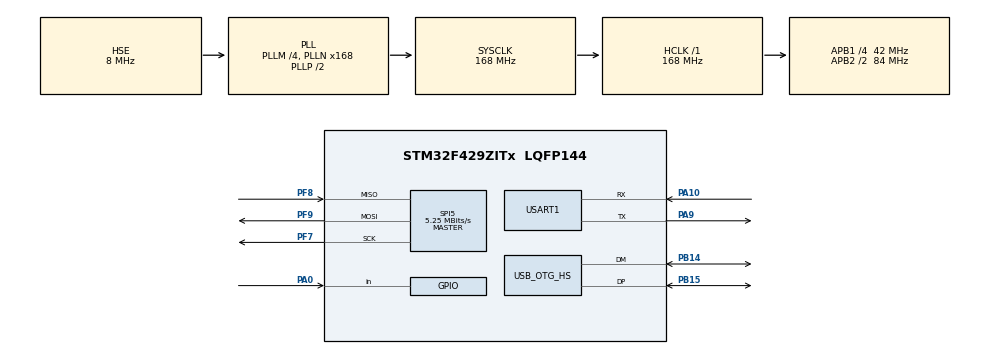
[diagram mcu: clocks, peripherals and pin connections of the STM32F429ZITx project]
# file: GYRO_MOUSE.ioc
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Mcu.Family=STM32F4
Mcu.Name=STM32F429ZITx
Mcu.Package=LQFP144
NVIC.OTG_HS_IRQn=true\:0\:0\:false\:false\:true\:false\:true\:true
NVIC.PriorityGroup=NVIC_PRIORITYGROUP_4
PA0/WKUP.GPIO_PuPd=GPIO_PULLDOWN
PA0/WKUP.Signal=GPIO_Input
PA10.Mode=Asynchronous
PA10.Signal=USART1_RX
PA9.Mode=Asynchronous
PA9.Signal=USART1_TX
PB14.Mode=Device_Only_FS
PB14.Signal=USB_OTG_HS_DM
PB15.Mode=Device_Only_FS
PB15.Signal=USB_OTG_HS_DP
PF7.Mode=Full_Duplex_Master
PF7.Signal=SPI5_SCK
PF8.Mode=Full_Duplex_Master
PF8.Signal=SPI5_MISO
PF9.Mode=Full_Duplex_Master
PF9.Signal=SPI5_MOSI
PH0/OSC_IN.Mode=HSE-External-Oscillator
PH0/OSC_IN.Signal=RCC_OSC_IN
PH1/OSC_OUT.Mode=HSE-External-Oscillator
PH1/OSC_OUT.Signal=RCC_OSC_OUT
ProjectManager.HeapSize=0x200
ProjectManager.StackSize=0x400
ProjectManager.TargetToolchain=STM32CubeIDE
RCC.48MHZClocksFreq_Value=48000000
RCC.AHBFreq_Value=168000000
RCC.APB1CLKDivider=RCC_HCLK_DIV4
RCC.APB1Freq_Value=42000000
RCC.APB1TimFreq_Value=84000000
RCC.APB2CLKDivider=RCC_HCLK_DIV2
RCC.APB2Freq_Value=84000000
RCC.APB2TimFreq_Value=168000000
RCC.CortexFreq_Value=168000000
RCC.HCLKFreq_Value=168000000
RCC.HSE_VALUE=8000000
RCC.HSI_VALUE=16000000
RCC.LSE_VALUE=32768
RCC.PLLM=4
RCC.PLLN=168
RCC.PLLQ=7
RCC.SYSCLKFreq_VALUE=168000000
RCC.SYSCLKSource=RCC_SYSCLKSOURCE_PLLCLK
RCC.VCOOutputFreq_Value=336000000
SPI5.BaudRatePrescaler=SPI_BAUDRATEPRESCALER_16
SPI5.CalculateBaudRate=5.25 MBits/s
SPI5.Direction=SPI_DIRECTION_2LINES
SPI5.Mode=SPI_MODE_MASTER
SPI5.VirtualType=VM_MASTER
USART1.VirtualMode=VM_ASYNC
USB_DEVICE.CLASS_NAME_HS=HID
USB_DEVICE.VirtualMode-HID_HS=Hid
USB_DEVICE.VirtualModeHS=Hid_HS
USB_OTG_HS.VirtualMode-Device_Only_FS=Device_Only_FS
VP_USB_DEVICE_VS_USB_DEVICE_HID_HS.Mode=HID_HS
board=custom

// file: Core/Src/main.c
/* USER CODE BEGIN Header */
/**
  ******************************************************************************
  * @file           : main.c
  * @brief          : Main program body
  ******************************************************************************
  * @attention
  *
  * Copyright (c) 2024 STMicroelectronics.
  * All rights reserved.
  *
  * This software is licensed under terms that can be found in the LICENSE file
  * in the root directory of this software component.
  * If no LICENSE file comes with this software, it is provided AS-IS.
  *
  ******************************************************************************
  */
/* USER CODE END Header */
#include "main.h"
#include "usbd_hid.h"
#include "usb_device.h"
#include <stdbool.h>

SPI_HandleTypeDef hspi5;

UART_HandleTypeDef huart1;

/* USER CODE BEGIN PV */
#define GYRO_SENSITIVITY 0.00875
#define MOUSE_SENSITIVITY 0.35

typedef struct {
    uint8_t buttons;
    int8_t x;
    int8_t y;
    int8_t wheel;
} HID_MouseReport;

HID_MouseReport mouseReport; //TODO get rid of filthy globals
extern USBD_HandleTypeDef hUsbDeviceHS;

void sendMouseReport() {
    USBD_HID_SendReport(&hUsbDeviceHS, (uint8_t*)&mouseReport, sizeof(mouseReport));
}

void updateMouseReport(int16_t deltaX, int16_t deltaY, uint8_t button_state) {
    mouseReport.x = (int8_t)deltaX;
    mouseReport.y = (int8_t)deltaY;
    mouseReport.buttons = button_state;
    mouseReport.wheel = 0;    // No wheel movement
}

int16_t convertGyroToMouse(int16_t gyro_value) {
    return (int16_t)(gyro_value * GYRO_SENSITIVITY * MOUSE_SENSITIVITY);
}

int _write(int file, char *ptr, int len)
{
	 HAL_UART_Transmit(&huart1, ptr, len, HAL_MAX_DELAY);
}
/* USER CODE END PV */

void SystemClock_Config(void);
static void MX_GPIO_Init(void);
static void MX_USART1_UART_Init(void);
static void MX_SPI5_Init(void);

int main(void)
{

  /* MCU Configuration--------------------------------------------------------*/

  /* Reset of all peripherals, Initializes the Flash interface and the Systick. */
  HAL_Init();

  /* Configure the system clock */
  SystemClock_Config();

  /* Initialize all configured peripherals */
  MX_GPIO_Init();
  MX_USART1_UART_Init();
  MX_USB_DEVICE_Init();
  MX_SPI5_Init();

  /* USER CODE BEGIN 2 */
  BSP_GYRO_Init();
  float valxyz[3];
  uint8_t button_pressed = 0x00;
  /* USER CODE END 2 */

  /* Infinite loop */
  /* USER CODE BEGIN WHILE */
  while (1)
  {
	  if(HAL_GPIO_ReadPin(GPIOA,GPIO_PIN_0))
		  button_pressed = 0x01;
	  else
		  button_pressed = 0x00;

	  BSP_GYRO_GetXYZ(valxyz);
	  printf("x: %f y: %f z: %f \r\n", valxyz[0],valxyz[1] ,valxyz[2]);
	  int16_t deltaX = convertGyroToMouse(valxyz[0]);
	  int16_t deltaY = convertGyroToMouse(valxyz[1]);

	  //This is setup to fit the way i hold the mcu
	  updateMouseReport(-(deltaY), deltaX, button_pressed);
	  sendMouseReport();
	  HAL_Delay(100);
    /* USER CODE END WHILE */

  }
}

void SystemClock_Config(void)
{
  RCC_OscInitTypeDef RCC_OscInitStruct = {0};
  RCC_ClkInitTypeDef RCC_ClkInitStruct = {0};

  /** Configure the main internal regulator output voltage
  */
  __HAL_RCC_PWR_CLK_ENABLE();
  __HAL_PWR_VOLTAGESCALING_CONFIG(PWR_REGULATOR_VOLTAGE_SCALE1);

  /** Initializes the RCC Oscillators according to the specified parameters
  * in the RCC_OscInitTypeDef structure.
  */
  RCC_OscInitStruct.OscillatorType = RCC_OSCILLATORTYPE_HSE;
  RCC_OscInitStruct.HSEState = RCC_HSE_ON;
  RCC_OscInitStruct.PLL.PLLState = RCC_PLL_ON;
  RCC_OscInitStruct.PLL.PLLSource = RCC_PLLSOURCE_HSE;
  RCC_OscInitStruct.PLL.PLLM = 4;
  RCC_OscInitStruct.PLL.PLLN = 168;
  RCC_OscInitStruct.PLL.PLLP = RCC_PLLP_DIV2;
  RCC_OscInitStruct.PLL.PLLQ = 7;
  if (HAL_RCC_OscConfig(&RCC_OscInitStruct) != HAL_OK)
  {
    Error_Handler();
  }

  /** Initializes the CPU, AHB and APB buses clocks
  */
  RCC_ClkInitStruct.ClockType = RCC_CLOCKTYPE_HCLK|RCC_CLOCKTYPE_SYSCLK
                              |RCC_CLOCKTYPE_PCLK1|RCC_CLOCKTYPE_PCLK2;
  RCC_ClkInitStruct.SYSCLKSource = RCC_SYSCLKSOURCE_PLLCLK;
  RCC_ClkInitStruct.AHBCLKDivider = RCC_SYSCLK_DIV1;
  RCC_ClkInitStruct.APB1CLKDivider = RCC_HCLK_DIV4;
  RCC_ClkInitStruct.APB2CLKDivider = RCC_HCLK_DIV2;

  if (HAL_RCC_ClockConfig(&RCC_ClkInitStruct, FLASH_LATENCY_5) != HAL_OK)
  {
    Error_Handler();
  }
}

static void MX_SPI5_Init(void)
{

  /* SPI5 parameter configuration*/
  hspi5.Instance = SPI5;
  hspi5.Init.Mode = SPI_MODE_MASTER;
  hspi5.Init.Direction = SPI_DIRECTION_2LINES;
  hspi5.Init.DataSize = SPI_DATASIZE_8BIT;
  hspi5.Init.CLKPolarity = SPI_POLARITY_LOW;
  hspi5.Init.CLKPhase = SPI_PHASE_1EDGE;
  hspi5.Init.NSS = SPI_NSS_SOFT;
  hspi5.Init.BaudRatePrescaler = SPI_BAUDRATEPRESCALER_16;
  hspi5.Init.FirstBit = SPI_FIRSTBIT_MSB;
  hspi5.Init.TIMode = SPI_TIMODE_DISABLE;
  hspi5.Init.CRCCalculation = SPI_CRCCALCULATION_DISABLE;
  hspi5.Init.CRCPolynomial = 10;
  if (HAL_SPI_Init(&hspi5) != HAL_OK)
  {
    Error_Handler();
  }

}

static void MX_USART1_UART_Init(void)
{

  huart1.Instance = USART1;
  huart1.Init.BaudRate = 115200;
  huart1.Init.WordLength = UART_WORDLENGTH_8B;
  huart1.Init.StopBits = UART_STOPBITS_1;
  huart1.Init.Parity = UART_PARITY_NONE;
  huart1.Init.Mode = UART_MODE_TX_RX;
  huart1.Init.HwFlowCtl = UART_HWCONTROL_NONE;
  huart1.Init.OverSampling = UART_OVERSAMPLING_16;
  if (HAL_UART_Init(&huart1) != HAL_OK)
  {
    Error_Handler();
  }

}

static void MX_GPIO_Init(void)
{
  GPIO_InitTypeDef GPIO_InitStruct = {0};

  /* GPIO Ports Clock Enable */
  __HAL_RCC_GPIOF_CLK_ENABLE();
  __HAL_RCC_GPIOH_CLK_ENABLE();
  __HAL_RCC_GPIOA_CLK_ENABLE();
  __HAL_RCC_GPIOB_CLK_ENABLE();

  /*Configure GPIO pin : PA0 */
  GPIO_InitStruct.Pin = GPIO_PIN_0;
  GPIO_InitStruct.Mode = GPIO_MODE_INPUT;
  GPIO_InitStruct.Pull = GPIO_PULLDOWN;
  HAL_GPIO_Init(GPIOA, &GPIO_InitStruct);

}

void Error_Handler(void)
{
  __disable_irq();
  while (1)
  {
  }
}
